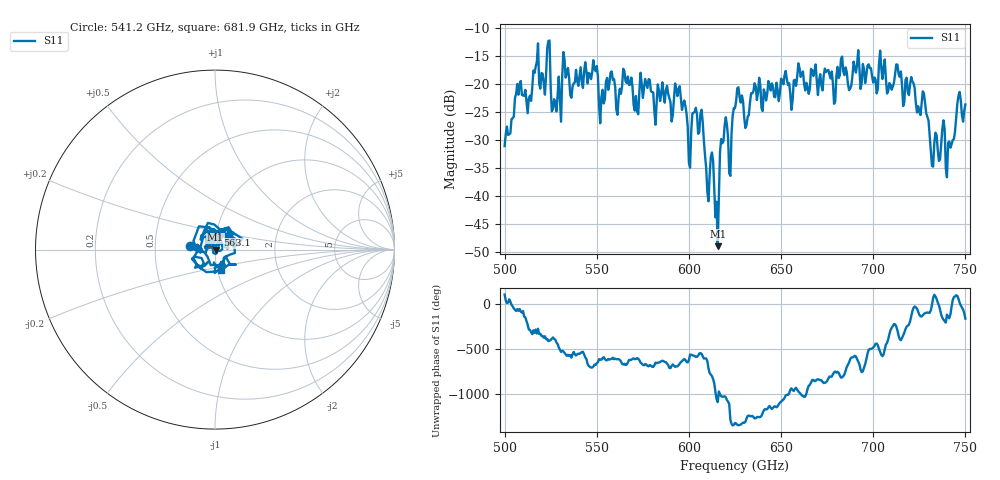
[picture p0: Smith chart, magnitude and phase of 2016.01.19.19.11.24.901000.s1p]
!Created with skrf (http://scikit-rf.org).
# GHz S RI R 50.0
!freq ReS11 ImS11
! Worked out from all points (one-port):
!   401 points, 500 GHz to 750 GHz, reference 50 ohm
!   lowest |S11| = -49.0 dB at 615.6 GHz (marker M1), VSWR 1.01, Z = 50.3 - j0.0849 ohm
!   |S11| at or under -10 dB: start of sweep to end of sweep
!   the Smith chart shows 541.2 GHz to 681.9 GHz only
!   S11 on the Smith chart (normalised r, x): 541.2 GHz: 0.75, +0.03; 563.1 GHz: 1.02, +0.17; 681.9 GHz: 1.04, -0.24
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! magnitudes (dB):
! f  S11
! 500 GHz  -31.1
! 513.8 GHz  -22.0
! 516.9 GHz  -16.8
! 520.6 GHz  -18.1
! 523.8 GHz  -12.2
! 526.9 GHz  -22.7
! 531.2 GHz  -18.7
! 541.2 GHz  -16.9
! 562.5 GHz  -20.8
! 563.1 GHz  -21.7
! 593.8 GHz  -22.1
! 600 GHz  -34.1
! 606.9 GHz  -24.6
! 610 GHz  -39.3
! 612.5 GHz  -32.2
! 615.6 GHz  -49.0
! 618.8 GHz  -30.2
! 622.5 GHz  -36.4
! 625 GHz  -24.3
! 656.2 GHz  -22.9
! 681.9 GHz  -18.4
! 687.5 GHz  -20.8
! 718.8 GHz  -21.4
! 728.1 GHz  -23.5
! 731.9 GHz  -34.6
! 740.6 GHz  -30.5
! 746.2 GHz  -22.0
! 750 GHz  -23.6
